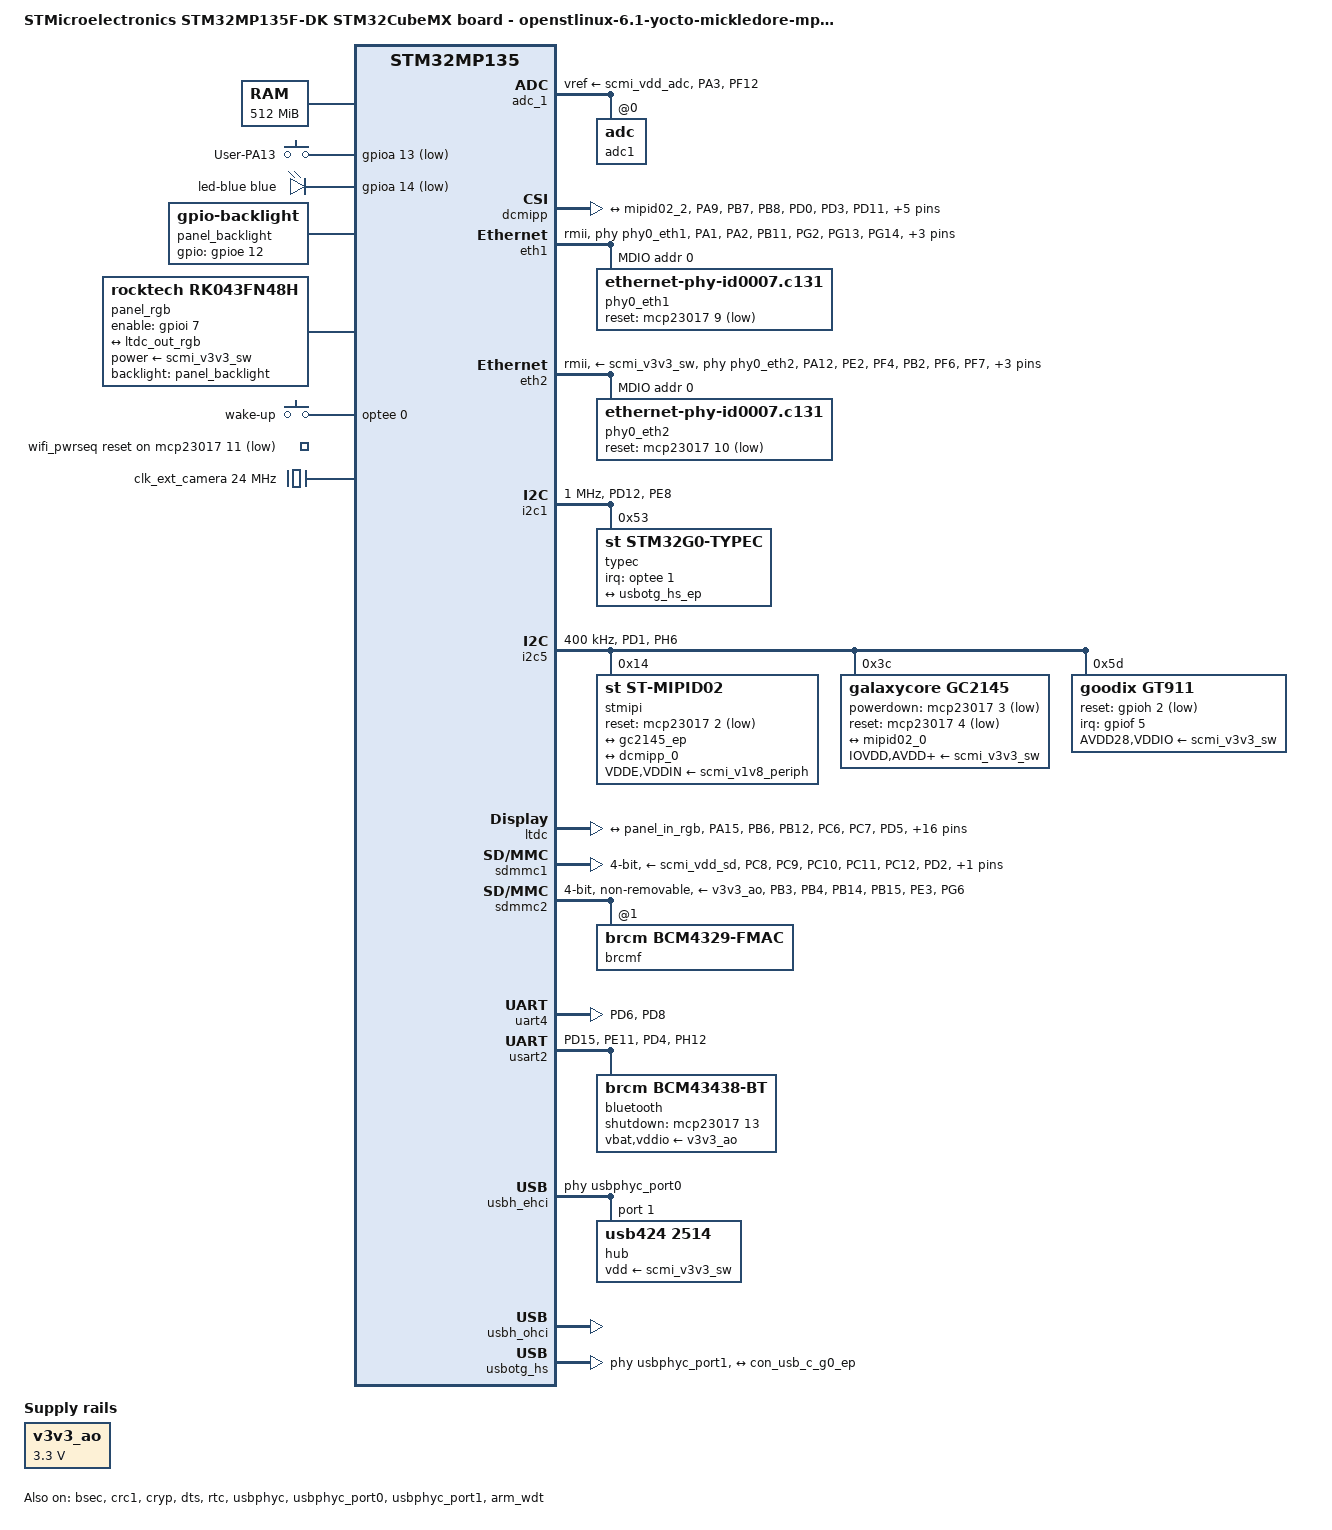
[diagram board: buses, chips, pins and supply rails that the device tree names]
// SPDX-License-Identifier: (GPL-2.0-or-later OR BSD-3-Clause)
/*
 * Copyright (C) 2024, STMicroelectronics - All Rights Reserved
 * Author: STM32CubeMX code generation for STMicroelectronics.
 */

/* For more information on Device Tree configuration, please refer to
 * https://wiki.st.com/stm32mpu/wiki/Category:Device_tree_configuration
 */

/dts-v1/;

#include <dt-bindings/pinctrl/stm32-pinfunc.h>
#include "stm32mp135.dtsi"
#include "stm32mp13xf.dtsi"

/* USER CODE BEGIN includes */
#include <dt-bindings/gpio/gpio.h>
#include <dt-bindings/input/input.h>
#include <dt-bindings/leds/common.h>
#include <dt-bindings/regulator/st,stm32mp13-regulator.h>
#include <dt-bindings/rtc/rtc-stm32.h>
/* USER CODE END includes */

/ {
	model = "STMicroelectronics STM32MP135F-DK STM32CubeMX board - openstlinux-6.1-yocto-mickledore-mpu-v24.06.26";
	compatible = "st,stm32mp135f-dk-mx", "st,stm32mp135f-dk", "st,stm32mp135";

	memory@c0000000 {
		device_type = "memory";
		reg = <0xc0000000 0x20000000>;

		/* USER CODE BEGIN memory */
		/* USER CODE END memory */
	};

	reserved-memory {
		#address-cells = <1>;
		#size-cells = <1>;
		ranges;

		/* USER CODE BEGIN reserved-memory */

		optee@dd000000{
			reg = <0xdd000000 0x3000000>;
			no-map;
		};
		/* USER CODE END reserved-memory */
	};

	/* USER CODE BEGIN root */

	aliases{
		ethernet0 = &eth1;
		ethernet1 = &eth2;
		serial0 = &uart4;
		serial1 = &usart1;
		serial2 = &uart8;
		serial3 = &usart2;
	};

	chosen{
		stdout-path = "serial0:115200n8";
		#address-cells = <1>;
		#size-cells = <1>;
		ranges;

		framebuffer{
			compatible = "simple-framebuffer";
			clocks = <&rcc LTDC_PX>;
			status = "disabled";
		};
	};

	gpio-keys{
		compatible = "gpio-keys";

		user-pa13{
			label = "User-PA13";
			linux,code = <BTN_1>;
			gpios = <&gpioa 13 (GPIO_ACTIVE_LOW | GPIO_PULL_UP)>;
		};
	};

	leds{
		compatible = "gpio-leds";

		led-blue{
			function = LED_FUNCTION_HEARTBEAT;
			color = <LED_COLOR_ID_BLUE>;
			gpios = <&gpioa 14 GPIO_ACTIVE_LOW>;
			linux,default-trigger = "heartbeat";
			default-state = "off";
		};
	};

	panel_backlight:panel-backlight{
		compatible = "gpio-backlight";
		gpios = <&gpioe 12 GPIO_ACTIVE_HIGH>;
		default-on;
		default-brightness-level = <1>;
		status = "okay";
	};

	panel_rgb:panel-rgb{
		compatible = "rocktech,rk043fn48h", "panel-dpi";
		enable-gpios = <&gpioi 7 GPIO_ACTIVE_HIGH>;
		backlight = <&panel_backlight>;
		power-supply = <&scmi_v3v3_sw>;
		data-mapping = "bgr666";
		status = "okay";
		width-mm = <105>;
		height-mm = <67>;

		port{

			panel_in_rgb:endpoint{
				remote-endpoint = <&ltdc_out_rgb>;
			};
		};

		panel-timing{
			clock-frequency = <10000000>;
			hactive = <480>;
			vactive = <272>;
			hsync-len = <52>;
			hfront-porch = <10>;
			hback-porch = <10>;
			vsync-len = <10>;
			vfront-porch = <10>;
			vback-porch = <10>;
			hsync-active = <0>;
			vsync-active = <0>;
			de-active = <1>;
			pixelclk-active = <1>;
		};
	};

	v3v3_ao:v3v3-ao{
		compatible = "regulator-fixed";
		regulator-name = "v3v3_ao";
		regulator-min-microvolt = <3300000>;
		regulator-max-microvolt = <3300000>;
		regulator-always-on;
	};

	wake_up{
		compatible = "gpio-keys";
		status = "okay";

		button{
			label = "wake-up";
			linux,code = <KEY_WAKEUP>;
			interrupts-extended = <&optee 0>;
			status = "okay";
		};
	};

	wifi_pwrseq:wifi-pwrseq{
		compatible = "mmc-pwrseq-simple";
		reset-gpios = <&mcp23017 11 GPIO_ACTIVE_LOW>;
	};
	/* USER CODE END root */

	clocks{

		/* USER CODE BEGIN clocks */

		clk_ext_camera:clk-ext-camera{
			#clock-cells = <0>;
			compatible = "fixed-clock";
			clock-frequency = <24000000>;
		};

		clk_mco1:clk-mco1{
			#clock-cells = <0>;
			compatible = "fixed-clock";
			clock-frequency = <24000000>;
		};
		/* USER CODE END clocks */
	};

}; /*root*/

&pinctrl {

	adc1_pins_mx: adc1_mx-0 {
		pins {
			pinmux = <STM32_PINMUX('A', 3, ANALOG)>, /* ADC1_INP12 */
					 <STM32_PINMUX('F', 12, ANALOG)>; /* ADC1_INP6 */
		};
	};

	adc1_sleep_pins_mx: adc1_sleep_mx-0 {
		pins {
			pinmux = <STM32_PINMUX('A', 3, ANALOG)>, /* ADC1_INP12 */
					 <STM32_PINMUX('F', 12, ANALOG)>; /* ADC1_INP6 */
		};
	};

	dcmipp_pins_mx: dcmipp_mx-0 {
		pins {
			pinmux = <STM32_PINMUX('A', 9, AF13)>, /* DCMIPP_D0 */
					 <STM32_PINMUX('B', 7, AF14)>, /* DCMIPP_PIXCLK */
					 <STM32_PINMUX('B', 8, AF13)>, /* DCMIPP_D6 */
					 <STM32_PINMUX('D', 0, AF13)>, /* DCMIPP_D1 */
					 <STM32_PINMUX('D', 3, AF13)>, /* DCMIPP_D5 */
					 <STM32_PINMUX('D', 11, AF14)>, /* DCMIPP_D4 */
					 <STM32_PINMUX('E', 4, AF13)>, /* DCMIPP_D3 */
					 <STM32_PINMUX('E', 14, AF13)>, /* DCMIPP_D7 */
					 <STM32_PINMUX('G', 9, AF13)>, /* DCMIPP_VSYNC */
					 <STM32_PINMUX('G', 10, AF13)>, /* DCMIPP_D2 */
					 <STM32_PINMUX('H', 8, AF13)>; /* DCMIPP_HSYNC */
			bias-disable;
		};
	};

	dcmipp_sleep_pins_mx: dcmipp_sleep_mx-0 {
		pins {
			pinmux = <STM32_PINMUX('A', 9, ANALOG)>, /* DCMIPP_D0 */
					 <STM32_PINMUX('B', 7, ANALOG)>, /* DCMIPP_PIXCLK */
					 <STM32_PINMUX('B', 8, ANALOG)>, /* DCMIPP_D6 */
					 <STM32_PINMUX('D', 0, ANALOG)>, /* DCMIPP_D1 */
					 <STM32_PINMUX('D', 3, ANALOG)>, /* DCMIPP_D5 */
					 <STM32_PINMUX('D', 11, ANALOG)>, /* DCMIPP_D4 */
					 <STM32_PINMUX('E', 4, ANALOG)>, /* DCMIPP_D3 */
					 <STM32_PINMUX('E', 14, ANALOG)>, /* DCMIPP_D7 */
					 <STM32_PINMUX('G', 9, ANALOG)>, /* DCMIPP_VSYNC */
					 <STM32_PINMUX('G', 10, ANALOG)>, /* DCMIPP_D2 */
					 <STM32_PINMUX('H', 8, ANALOG)>; /* DCMIPP_HSYNC */
		};
	};

	eth1_pins_mx: eth1_mx-0 {
		pins1 {
			pinmux = <STM32_PINMUX('A', 1, AF11)>, /* ETH1_REF_CLK */
					 <STM32_PINMUX('A', 2, AF11)>, /* ETH1_MDIO */
					 <STM32_PINMUX('B', 11, AF11)>, /* ETH1_TX_EN */
					 <STM32_PINMUX('G', 2, AF11)>, /* ETH1_MDC */
					 <STM32_PINMUX('G', 13, AF11)>, /* ETH1_TXD0 */
					 <STM32_PINMUX('G', 14, AF11)>; /* ETH1_TXD1 */
			bias-disable;
			drive-push-pull;
			slew-rate = <1>;
		};
		pins2 {
			pinmux = <STM32_PINMUX('C', 1, AF10)>, /* ETH1_CRS_DV */
					 <STM32_PINMUX('C', 4, AF11)>, /* ETH1_RXD0 */
					 <STM32_PINMUX('C', 5, AF11)>; /* ETH1_RXD1 */
			bias-disable;
		};
	};

	eth1_sleep_pins_mx: eth1_sleep_mx-0 {
		pins {
			pinmux = <STM32_PINMUX('A', 1, ANALOG)>, /* ETH1_REF_CLK */
					 <STM32_PINMUX('A', 2, ANALOG)>, /* ETH1_MDIO */
					 <STM32_PINMUX('B', 11, ANALOG)>, /* ETH1_TX_EN */
					 <STM32_PINMUX('C', 1, ANALOG)>, /* ETH1_CRS_DV */
					 <STM32_PINMUX('C', 4, ANALOG)>, /* ETH1_RXD0 */
					 <STM32_PINMUX('C', 5, ANALOG)>, /* ETH1_RXD1 */
					 <STM32_PINMUX('G', 2, ANALOG)>, /* ETH1_MDC */
					 <STM32_PINMUX('G', 13, ANALOG)>, /* ETH1_TXD0 */
					 <STM32_PINMUX('G', 14, ANALOG)>; /* ETH1_TXD1 */
		};
	};

	eth2_pins_mx: eth2_mx-0 {
		pins1 {
			pinmux = <STM32_PINMUX('A', 12, AF11)>, /* ETH2_CRS_DV */
					 <STM32_PINMUX('E', 2, AF10)>, /* ETH2_RXD1 */
					 <STM32_PINMUX('F', 4, AF11)>; /* ETH2_RXD0 */
			bias-disable;
		};
		pins2 {
			pinmux = <STM32_PINMUX('B', 2, AF11)>, /* ETH2_MDIO */
					 <STM32_PINMUX('F', 6, AF11)>, /* ETH2_TX_EN */
					 <STM32_PINMUX('F', 7, AF11)>, /* ETH2_TXD0 */
					 <STM32_PINMUX('G', 5, AF10)>, /* ETH2_MDC */
					 <STM32_PINMUX('G', 8, AF13)>, /* ETH2_CLK */
					 <STM32_PINMUX('G', 11, AF10)>; /* ETH2_TXD1 */
			bias-disable;
			drive-push-pull;
			slew-rate = <1>;
		};
	};

	eth2_sleep_pins_mx: eth2_sleep_mx-0 {
		pins {
			pinmux = <STM32_PINMUX('A', 12, ANALOG)>, /* ETH2_CRS_DV */
					 <STM32_PINMUX('B', 2, ANALOG)>, /* ETH2_MDIO */
					 <STM32_PINMUX('E', 2, ANALOG)>, /* ETH2_RXD1 */
					 <STM32_PINMUX('F', 4, ANALOG)>, /* ETH2_RXD0 */
					 <STM32_PINMUX('F', 6, ANALOG)>, /* ETH2_TX_EN */
					 <STM32_PINMUX('F', 7, ANALOG)>, /* ETH2_TXD0 */
					 <STM32_PINMUX('G', 5, ANALOG)>, /* ETH2_MDC */
					 <STM32_PINMUX('G', 8, ANALOG)>, /* ETH2_CLK */
					 <STM32_PINMUX('G', 11, ANALOG)>; /* ETH2_TXD1 */
		};
	};

	i2c1_pins_mx: i2c1_mx-0 {
		pins {
			pinmux = <STM32_PINMUX('D', 12, AF5)>, /* I2C1_SCL */
					 <STM32_PINMUX('E', 8, AF5)>; /* I2C1_SDA */
			bias-disable;
			drive-open-drain;
			slew-rate = <0>;
		};
	};

	i2c1_sleep_pins_mx: i2c1_sleep_mx-0 {
		pins {
			pinmux = <STM32_PINMUX('D', 12, ANALOG)>, /* I2C1_SCL */
					 <STM32_PINMUX('E', 8, ANALOG)>; /* I2C1_SDA */
		};
	};

	i2c5_pins_mx: i2c5_mx-0 {
		pins {
			pinmux = <STM32_PINMUX('D', 1, AF4)>, /* I2C5_SCL */
					 <STM32_PINMUX('H', 6, AF4)>; /* I2C5_SDA */
			bias-disable;
			drive-open-drain;
			slew-rate = <0>;
		};
	};

	i2c5_sleep_pins_mx: i2c5_sleep_mx-0 {
		pins {
			pinmux = <STM32_PINMUX('D', 1, ANALOG)>, /* I2C5_SCL */
					 <STM32_PINMUX('H', 6, ANALOG)>; /* I2C5_SDA */
		};
	};

	ltdc_pins_mx: ltdc_mx-0 {
		pins {
			pinmux = <STM32_PINMUX('A', 15, AF11)>, /* LTDC_G7 */
					 <STM32_PINMUX('B', 6, AF7)>, /* LTDC_B6 */
					 <STM32_PINMUX('B', 12, AF13)>, /* LTDC_R3 */
					 <STM32_PINMUX('C', 6, AF14)>, /* LTDC_HSYNC */
					 <STM32_PINMUX('C', 7, AF14)>, /* LTDC_G6 */
					 <STM32_PINMUX('D', 5, AF14)>, /* LTDC_G4 */
					 <STM32_PINMUX('D', 9, AF13)>, /* LTDC_CLK */
					 <STM32_PINMUX('D', 10, AF14)>, /* LTDC_B2 */
					 <STM32_PINMUX('D', 14, AF14)>, /* LTDC_R4 */
					 <STM32_PINMUX('E', 0, AF14)>, /* LTDC_B5 */
					 <STM32_PINMUX('E', 7, AF14)>, /* LTDC_R5 */
					 <STM32_PINMUX('E', 9, AF14)>, /* LTDC_R7 */
					 <STM32_PINMUX('E', 13, AF14)>, /* LTDC_R6 */
					 <STM32_PINMUX('F', 1, AF13)>, /* LTDC_B7 */
					 <STM32_PINMUX('F', 2, AF14)>, /* LTDC_B3 */
					 <STM32_PINMUX('F', 3, AF14)>, /* LTDC_G3 */
					 <STM32_PINMUX('G', 0, AF14)>, /* LTDC_G5 */
					 <STM32_PINMUX('G', 4, AF11)>, /* LTDC_VSYNC */
					 <STM32_PINMUX('G', 7, AF14)>, /* LTDC_R2 */
					 <STM32_PINMUX('H', 9, AF11)>, /* LTDC_DE */
					 <STM32_PINMUX('H', 13, AF14)>, /* LTDC_G2 */
					 <STM32_PINMUX('H', 14, AF11)>; /* LTDC_B4 */
			bias-disable;
			drive-push-pull;
			slew-rate = <0>;
		};
	};

	ltdc_sleep_pins_mx: ltdc_sleep_mx-0 {
		pins {
			pinmux = <STM32_PINMUX('A', 15, ANALOG)>, /* LTDC_G7 */
					 <STM32_PINMUX('B', 6, ANALOG)>, /* LTDC_B6 */
					 <STM32_PINMUX('B', 12, ANALOG)>, /* LTDC_R3 */
					 <STM32_PINMUX('C', 6, ANALOG)>, /* LTDC_HSYNC */
					 <STM32_PINMUX('C', 7, ANALOG)>, /* LTDC_G6 */
					 <STM32_PINMUX('D', 5, ANALOG)>, /* LTDC_G4 */
					 <STM32_PINMUX('D', 9, ANALOG)>, /* LTDC_CLK */
					 <STM32_PINMUX('D', 10, ANALOG)>, /* LTDC_B2 */
					 <STM32_PINMUX('D', 14, ANALOG)>, /* LTDC_R4 */
					 <STM32_PINMUX('E', 0, ANALOG)>, /* LTDC_B5 */
					 <STM32_PINMUX('E', 7, ANALOG)>, /* LTDC_R5 */
					 <STM32_PINMUX('E', 9, ANALOG)>, /* LTDC_R7 */
					 <STM32_PINMUX('E', 13, ANALOG)>, /* LTDC_R6 */
					 <STM32_PINMUX('F', 1, ANALOG)>, /* LTDC_B7 */
					 <STM32_PINMUX('F', 2, ANALOG)>, /* LTDC_B3 */
					 <STM32_PINMUX('F', 3, ANALOG)>, /* LTDC_G3 */
					 <STM32_PINMUX('G', 0, ANALOG)>, /* LTDC_G5 */
					 <STM32_PINMUX('G', 4, ANALOG)>, /* LTDC_VSYNC */
					 <STM32_PINMUX('G', 7, ANALOG)>, /* LTDC_R2 */
					 <STM32_PINMUX('H', 9, ANALOG)>, /* LTDC_DE */
					 <STM32_PINMUX('H', 13, ANALOG)>, /* LTDC_G2 */
					 <STM32_PINMUX('H', 14, ANALOG)>; /* LTDC_B4 */
		};
	};

	rtc_pins_mx: rtc_mx-0 {
		pins {
			pinmux = <STM32_PINMUX('I', 1, ANALOG)>; /* RTC_OUT2 */
		};
	};

	rtc_sleep_pins_mx: rtc_sleep_mx-0 {
		pins {
			pinmux = <STM32_PINMUX('I', 1, ANALOG)>; /* RTC_OUT2 */
		};
	};

	sdmmc1_pins_mx: sdmmc1_mx-0 {
		pins {
			pinmux = <STM32_PINMUX('C', 8, AF12)>, /* SDMMC1_D0 */
					 <STM32_PINMUX('C', 9, AF12)>, /* SDMMC1_D1 */
					 <STM32_PINMUX('C', 10, AF12)>, /* SDMMC1_D2 */
					 <STM32_PINMUX('C', 11, AF12)>, /* SDMMC1_D3 */
					 <STM32_PINMUX('C', 12, AF12)>, /* SDMMC1_CK */
					 <STM32_PINMUX('D', 2, AF12)>; /* SDMMC1_CMD */
			bias-disable;
			drive-push-pull;
			slew-rate = <1>;
		};
	};

	sdmmc1_opendrain_pins_mx: sdmmc1_opendrain_mx-0 {
		pins1 {
			pinmux = <STM32_PINMUX('C', 8, AF12)>, /* SDMMC1_D0 */
					 <STM32_PINMUX('C', 9, AF12)>, /* SDMMC1_D1 */
					 <STM32_PINMUX('C', 10, AF12)>, /* SDMMC1_D2 */
					 <STM32_PINMUX('C', 11, AF12)>, /* SDMMC1_D3 */
					 <STM32_PINMUX('C', 12, AF12)>; /* SDMMC1_CK */
			bias-disable;
			drive-push-pull;
			slew-rate = <1>;
		};
		pins2 {
			pinmux = <STM32_PINMUX('D', 2, AF12)>; /* SDMMC1_CMD */
			bias-disable;
			drive-open-drain;
			slew-rate = <1>;
		};
	};

	sdmmc1_sleep_pins_mx: sdmmc1_sleep_mx-0 {
		pins {
			pinmux = <STM32_PINMUX('C', 8, ANALOG)>, /* SDMMC1_D0 */
					 <STM32_PINMUX('C', 9, ANALOG)>, /* SDMMC1_D1 */
					 <STM32_PINMUX('C', 10, ANALOG)>, /* SDMMC1_D2 */
					 <STM32_PINMUX('C', 11, ANALOG)>, /* SDMMC1_D3 */
					 <STM32_PINMUX('C', 12, ANALOG)>, /* SDMMC1_CK */
					 <STM32_PINMUX('D', 2, ANALOG)>; /* SDMMC1_CMD */
		};
	};

	sdmmc2_pins_mx: sdmmc2_mx-0 {
		pins {
			pinmux = <STM32_PINMUX('B', 3, AF10)>, /* SDMMC2_D2 */
					 <STM32_PINMUX('B', 4, AF10)>, /* SDMMC2_D3 */
					 <STM32_PINMUX('B', 14, AF10)>, /* SDMMC2_D0 */
					 <STM32_PINMUX('B', 15, AF10)>, /* SDMMC2_D1 */
					 <STM32_PINMUX('E', 3, AF10)>, /* SDMMC2_CK */
					 <STM32_PINMUX('G', 6, AF10)>; /* SDMMC2_CMD */
			bias-pull-up;
			drive-push-pull;
			slew-rate = <1>;
		};
	};

	sdmmc2_opendrain_pins_mx: sdmmc2_opendrain_mx-0 {
		pins1 {
			pinmux = <STM32_PINMUX('B', 3, AF10)>, /* SDMMC2_D2 */
					 <STM32_PINMUX('B', 4, AF10)>, /* SDMMC2_D3 */
					 <STM32_PINMUX('B', 14, AF10)>, /* SDMMC2_D0 */
					 <STM32_PINMUX('B', 15, AF10)>, /* SDMMC2_D1 */
					 <STM32_PINMUX('E', 3, AF10)>; /* SDMMC2_CK */
			bias-pull-up;
			drive-push-pull;
			slew-rate = <1>;
		};
		pins2 {
			pinmux = <STM32_PINMUX('G', 6, AF10)>; /* SDMMC2_CMD */
			bias-pull-up;
			drive-open-drain;
			slew-rate = <1>;
		};
	};

	sdmmc2_sleep_pins_mx: sdmmc2_sleep_mx-0 {
		pins {
			pinmux = <STM32_PINMUX('B', 3, ANALOG)>, /* SDMMC2_D2 */
					 <STM32_PINMUX('B', 4, ANALOG)>, /* SDMMC2_D3 */
					 <STM32_PINMUX('B', 14, ANALOG)>, /* SDMMC2_D0 */
					 <STM32_PINMUX('B', 15, ANALOG)>, /* SDMMC2_D1 */
					 <STM32_PINMUX('E', 3, ANALOG)>, /* SDMMC2_CK */
					 <STM32_PINMUX('G', 6, ANALOG)>; /* SDMMC2_CMD */
		};
	};

	uart4_pins_mx: uart4_mx-0 {
		pins1 {
			pinmux = <STM32_PINMUX('D', 6, AF8)>; /* UART4_TX */
			bias-disable;
			drive-push-pull;
			slew-rate = <0>;
		};
		pins2 {
			pinmux = <STM32_PINMUX('D', 8, AF8)>; /* UART4_RX */
			bias-disable;
		};
	};

	uart4_idle_pins_mx: uart4_idle_mx-0 {
		pins1 {
			pinmux = <STM32_PINMUX('D', 6, AF8)>; /* UART4_TX */
			bias-disable;
			drive-push-pull;
			slew-rate = <0>;
		};
		pins2 {
			pinmux = <STM32_PINMUX('D', 8, AF8)>; /* UART4_RX */
			bias-disable;
		};
	};

	uart4_sleep_pins_mx: uart4_sleep_mx-0 {
		pins {
			pinmux = <STM32_PINMUX('D', 6, ANALOG)>, /* UART4_TX */
					 <STM32_PINMUX('D', 8, ANALOG)>; /* UART4_RX */
		};
	};

	usart2_pins_mx: usart2_mx-0 {
		pins1 {
			pinmux = <STM32_PINMUX('D', 15, AF1)>, /* USART2_RX */
					 <STM32_PINMUX('E', 11, AF2)>; /* USART2_CTS */
			bias-disable;
		};
		pins2 {
			pinmux = <STM32_PINMUX('D', 4, AF3)>, /* USART2_RTS */
					 <STM32_PINMUX('H', 12, AF1)>; /* USART2_TX */
			bias-disable;
			drive-push-pull;
			slew-rate = <0>;
		};
	};

	usart2_idle_pins_mx: usart2_idle_mx-0 {
		pins1 {
			pinmux = <STM32_PINMUX('D', 15, AF1)>, /* USART2_RX */
					 <STM32_PINMUX('E', 11, AF2)>; /* USART2_CTS */
			bias-disable;
		};
		pins2 {
			pinmux = <STM32_PINMUX('D', 4, AF3)>, /* USART2_RTS */
					 <STM32_PINMUX('H', 12, AF1)>; /* USART2_TX */
			bias-disable;
			drive-push-pull;
			slew-rate = <0>;
		};
	};

	usart2_sleep_pins_mx: usart2_sleep_mx-0 {
		pins {
			pinmux = <STM32_PINMUX('D', 4, ANALOG)>, /* USART2_RTS */
					 <STM32_PINMUX('D', 15, ANALOG)>, /* USART2_RX */
					 <STM32_PINMUX('E', 11, ANALOG)>, /* USART2_CTS */
					 <STM32_PINMUX('H', 12, ANALOG)>; /* USART2_TX */
		};
	};

	/* USER CODE BEGIN pinctrl */
	/* USER CODE END pinctrl */
};

&adc_1{
	pinctrl-names = "default", "sleep";
	pinctrl-0 = <&adc1_pins_mx>;
	pinctrl-1 = <&adc1_sleep_pins_mx>;
	status = "okay";

	/* USER CODE BEGIN adc_1 */
	vdda-supply = <&scmi_vdd_adc>;
	vref-supply = <&scmi_vdd_adc>;

	adc1:adc@0{
		status = "okay";

		channel@6{
			reg = <6>;
			st,min-sample-time-ns = <5000>;
		};

		channel@12{
			reg = <12>;
			st,min-sample-time-ns = <5000>;
		};
	};
	/* USER CODE END adc_1 */
};

&bsec{
	status = "okay";

	/* USER CODE BEGIN bsec */
	/* USER CODE END bsec */
};

&crc1{
	status = "okay";

	/* USER CODE BEGIN crc1 */
	/* USER CODE END crc1 */
};

&cryp{
	status = "okay";

	/* USER CODE BEGIN cryp */
	/* USER CODE END cryp */
};

&dcmipp{
	pinctrl-names = "default", "sleep";
	pinctrl-0 = <&dcmipp_pins_mx>;
	pinctrl-1 = <&dcmipp_sleep_pins_mx>;
	status = "okay";

	/* USER CODE BEGIN dcmipp */

	port{

		dcmipp_0:endpoint{
			remote-endpoint = <&mipid02_2>;
			bus-width = <8>;
			hsync-active = <0>;
			vsync-active = <0>;
			pclk-sample = <0>;
			pclk-max-frequency = <120000000>;
		};
	};
	/* USER CODE END dcmipp */
};

&dma1{
	status = "okay";

	/* USER CODE BEGIN dma1 */
	/* USER CODE END dma1 */
};

&dma2{
	status = "okay";

	/* USER CODE BEGIN dma2 */
	/* USER CODE END dma2 */
};

&dmamux1{
	status = "okay";

	dma-masters = <&dma1 &dma2>;
	dma-channels = <16>;

	/* USER CODE BEGIN dmamux1 */
	/* USER CODE END dmamux1 */
};

&dts{
	status = "okay";

	/* USER CODE BEGIN dts */
	/* USER CODE END dts */
};

&eth1{
	pinctrl-names = "default", "sleep";
	pinctrl-0 = <&eth1_pins_mx>;
	pinctrl-1 = <&eth1_sleep_pins_mx>;
	status = "okay";

	/* USER CODE BEGIN eth1 */
	phy-mode = "rmii";
	max-speed = <100>;
	phy-handle = <&phy0_eth1>;
	nvmem-cells = <&ethernet_mac1_address>;
	nvmem-cell-names = "mac-address";

	mdio1{
		#address-cells = <1>;
		#size-cells = <0>;
		compatible = "snps,dwmac-mdio";

		phy0_eth1:ethernet-phy@0{
			compatible = "ethernet-phy-id0007.c131";
			reset-gpios = <&mcp23017 9 GPIO_ACTIVE_LOW>;
			reg = <0>;
			wakeup-source;
		};
	};
	/* USER CODE END eth1 */
};

&eth2{
	pinctrl-names = "default", "sleep";
	pinctrl-0 = <&eth2_pins_mx>;
	pinctrl-1 = <&eth2_sleep_pins_mx>;
	status = "okay";

	/* USER CODE BEGIN eth2 */
	phy-mode = "rmii";
	max-speed = <100>;
	phy-handle = <&phy0_eth2>;
	st,ext-phyclk;
	phy-supply = <&scmi_v3v3_sw>;
	nvmem-cells = <&ethernet_mac2_address>;
	nvmem-cell-names = "mac-address";

	mdio1{
		#address-cells = <1>;
		#size-cells = <0>;
		compatible = "snps,dwmac-mdio";

		phy0_eth2:ethernet-phy@0{
			compatible = "ethernet-phy-id0007.c131";
			reset-gpios = <&mcp23017 10 GPIO_ACTIVE_LOW>;
			reg = <0>;
		};
	};
	/* USER CODE END eth2 */
};

&i2c1{
	pinctrl-names = "default", "sleep";
	pinctrl-0 = <&i2c1_pins_mx>;
	pinctrl-1 = <&i2c1_sleep_pins_mx>;
	status = "okay";

	/* USER CODE BEGIN i2c1 */
	i2c-scl-rising-time-ns = <96>;
	i2c-scl-falling-time-ns = <3>;
	clock-frequency = <1000000>;
	/delete-property/ dmas;
	/delete-property/ dma-names;

	mcp23017:pinctrl@21{
		compatible = "microchip,mcp23017";
		reg = <0x21>;
		gpio-controller;
		#gpio-cells = <2>;
		interrupts = <12 IRQ_TYPE_LEVEL_LOW>;
		interrupt-parent = <&gpiog>;
		pinctrl-names = "default";
		pinctrl-0 = <&mcp23017_pins_a>;
		interrupt-controller;
		#interrupt-cells = <2>;
		microchip,irq-mirror;
	};

	typec@53{
		compatible = "st,stm32g0-typec";
		reg = <0x53>;
		interrupts-extended = <&optee 1>;
		firmware-name = "stm32g0-ucsi.mp135f-dk.fw";
		wakeup-source;

		connector{
			compatible = "usb-c-connector";
			label = "USB-C";

			port{

				con_usb_c_g0_ep:endpoint{
					remote-endpoint = <&usbotg_hs_ep>;
				};
			};
		};
	};
	/* USER CODE END i2c1 */
};

&i2c5{
	pinctrl-names = "default", "sleep";
	pinctrl-0 = <&i2c5_pins_mx>;
	pinctrl-1 = <&i2c5_sleep_pins_mx>;
	status = "okay";

	/* USER CODE BEGIN i2c5 */
	i2c-scl-rising-time-ns = <170>;
	i2c-scl-falling-time-ns = <5>;
	clock-frequency = <400000>;
	/delete-property/ dmas;
	/delete-property/ dma-names;

	stmipi:stmipi@14{
		compatible = "st,st-mipid02";
		reg = <0x14>;
		status = "okay";
		clocks = <&clk_mco1>;
		clock-names = "xclk";
		VDDE-supply = <&scmi_v1v8_periph>;
		VDDIN-supply = <&scmi_v1v8_periph>;
		reset-gpios = <&mcp23017 2 (GPIO_ACTIVE_LOW | GPIO_PUSH_PULL)>;

		ports{
			#address-cells = <1>;
			#size-cells = <0>;

			port@0{
				reg = <0>;

				mipid02_0:endpoint{
					data-lanes = <1 2>;
					lane-polarities = <0 0 0>;
					remote-endpoint = <&gc2145_ep>;
				};
			};

			port@2{
				reg = <2>;

				mipid02_2:endpoint{
					bus-width = <8>;
					hsync-active = <0>;
					vsync-active = <0>;
					pclk-sample = <0>;
					remote-endpoint = <&dcmipp_0>;
				};
			};
		};
	};

	gc2145:gc2145@3c{
		compatible = "galaxycore,gc2145";
		reg = <0x3c>;
		clocks = <&clk_ext_camera>;
		IOVDD-supply = <&scmi_v3v3_sw>;
		AVDD-supply = <&scmi_v3v3_sw>;
		DVDD-supply = <&scmi_v3v3_sw>;
		powerdown-gpios = <&mcp23017 3 (GPIO_ACTIVE_LOW | GPIO_PUSH_PULL)>;
		reset-gpios = <&mcp23017 4 (GPIO_ACTIVE_LOW | GPIO_PUSH_PULL)>;
		status = "okay";

		port{

			gc2145_ep:endpoint{
				remote-endpoint = <&mipid02_0>;
				clock-lanes = <0>;
				data-lanes = <1 2>;
			};
		};
	};

	ov5640:camera@3c{
		compatible = "ovti,ov5640";
		reg = <0x3c>;
		clocks = <&clk_ext_camera>;
		clock-names = "xclk";
		DOVDD-supply = <&scmi_v3v3_sw>;
		status = "disabled";
		powerdown-gpios = <&mcp23017 3 (GPIO_ACTIVE_LOW | GPIO_PUSH_PULL)>;
		reset-gpios = <&mcp23017 4 (GPIO_ACTIVE_LOW | GPIO_PUSH_PULL)>;

		port{

			ov5640_0:endpoint{
				clock-lanes = <0>;
				data-lanes = <1 2>;
			};
		};
	};

	goodix:goodix-ts@5d{
		compatible = "goodix,gt911";
		reg = <0x5d>;
		pinctrl-names = "default";
		pinctrl-0 = <&goodix_pins_a>;
		interrupt-parent = <&gpiof>;
		interrupts = <5 IRQ_TYPE_NONE>;
		reset-gpios = <&gpioh 2 GPIO_ACTIVE_LOW>;
		AVDD28-supply = <&scmi_v3v3_sw>;
		VDDIO-supply = <&scmi_v3v3_sw>;
		touchscreen-size-x = <480>;
		touchscreen-size-y = <272>;
		status = "okay";
	};
	/* USER CODE END i2c5 */
};

&ltdc{
	pinctrl-names = "default", "sleep";
	pinctrl-0 = <&ltdc_pins_mx>;
	pinctrl-1 = <&ltdc_sleep_pins_mx>;
	status = "okay";

	/* USER CODE BEGIN ltdc */
	default-on;

	port{

		ltdc_out_rgb:endpoint{
			remote-endpoint = <&panel_in_rgb>;
		};
	};
	/* USER CODE END ltdc */
};

&mdma{
	status = "okay";

	/* USER CODE BEGIN mdma */
	/* USER CODE END mdma */
};

&rcc{
	status = "okay";

	/* USER CODE BEGIN rcc */
	/* USER CODE END rcc */
};

&rtc{
	pinctrl-names = "default", "sleep";
	pinctrl-0 = <&rtc_pins_mx>;
	pinctrl-1 = <&rtc_sleep_pins_mx>;
	status = "okay";

	/* USER CODE BEGIN rtc */
	st,lsco = <RTC_OUT2_RMP>;
	/* USER CODE END rtc */
};

&sdmmc1{
	pinctrl-names = "default", "opendrain", "sleep";
	pinctrl-0 = <&sdmmc1_pins_mx>;
	pinctrl-1 = <&sdmmc1_opendrain_pins_mx>;
	pinctrl-2 = <&sdmmc1_sleep_pins_mx>;
	status = "okay";

	/* USER CODE BEGIN sdmmc1 */
	cd-gpios = <&gpioh 4 (GPIO_ACTIVE_LOW | GPIO_PULL_UP)>;
	disable-wp;
	st,neg-edge;
	bus-width = <4>;
	vmmc-supply = <&scmi_vdd_sd>;
	/* USER CODE END sdmmc1 */
};

&sdmmc2{
	pinctrl-names = "default", "opendrain", "sleep";
	pinctrl-0 = <&sdmmc2_pins_mx>;
	pinctrl-1 = <&sdmmc2_opendrain_pins_mx>;
	pinctrl-2 = <&sdmmc2_sleep_pins_mx>;
	status = "okay";

	/* USER CODE BEGIN sdmmc2 */
	non-removable;
	cap-sdio-irq;
	st,neg-edge;
	bus-width = <4>;
	vmmc-supply = <&v3v3_ao>;
	mmc-pwrseq = <&wifi_pwrseq>;
	#address-cells = <1>;
	#size-cells = <0>;

	brcmf:bcrmf@1{
		reg = <1>;
		compatible = "brcm,bcm4329-fmac";
	};
	/* USER CODE END sdmmc2 */
};

&uart4{
	pinctrl-names = "default", "idle", "sleep";
	pinctrl-0 = <&uart4_pins_mx>;
	pinctrl-1 = <&uart4_idle_pins_mx>;
	pinctrl-2 = <&uart4_sleep_pins_mx>;
	status = "okay";

	/* USER CODE BEGIN uart4 */
	/delete-property/ dmas;
	/delete-property/ dma-names;
	/* USER CODE END uart4 */
};

&usart2{
	pinctrl-names = "default", "idle", "sleep";
	pinctrl-0 = <&usart2_pins_mx>;
	pinctrl-1 = <&usart2_idle_pins_mx>;
	pinctrl-2 = <&usart2_sleep_pins_mx>;
	status = "okay";

	/* USER CODE BEGIN usart2 */
	uart-has-rtscts;

	bluetooth{
		shutdown-gpios = <&mcp23017 13 GPIO_ACTIVE_HIGH>;
		compatible = "brcm,bcm43438-bt";
		max-speed = <3000000>;
		vbat-supply = <&v3v3_ao>;
		vddio-supply = <&v3v3_ao>;
	};
	/* USER CODE END usart2 */
};

&usbh_ehci{
	status = "okay";

	/* USER CODE BEGIN usbh_ehci */
	phys = <&usbphyc_port0>;
	#address-cells = <1>;
	#size-cells = <0>;

	hub@1{
		compatible = "usb424,2514";
		reg = <1>;
		vdd-supply = <&scmi_v3v3_sw>;
	};
	/* USER CODE END usbh_ehci */
};

&usbh_ohci{
	status = "okay";

	/* USER CODE BEGIN usbh_ohci */
	/* USER CODE END usbh_ohci */
};

&usbotg_hs{
	status = "okay";

	/* USER CODE BEGIN usbotg_hs */
	phys = <&usbphyc_port1 0>;
	phy-names = "usb2-phy";
	usb-role-switch;

	port{

		usbotg_hs_ep:endpoint{
			remote-endpoint = <&con_usb_c_g0_ep>;
		};
	};
	/* USER CODE END usbotg_hs */
};

&usbphyc{
	status = "okay";

	/* USER CODE BEGIN usbphyc */
	/* USER CODE END usbphyc */
};

&usbphyc_port0{
	status = "okay";

	/* USER CODE BEGIN usbphyc_port0 */
	phy-supply = <&scmi_vdd_usb>;
	st,current-boost-microamp = <1000>;
	st,decrease-hs-slew-rate;
	st,tune-hs-dc-level = <2>;
	st,enable-hs-rftime-reduction;
	st,trim-hs-current = <11>;
	st,trim-hs-impedance = <2>;
	st,tune-squelch-level = <1>;
	st,enable-hs-rx-gain-eq;
	st,no-hs-ftime-ctrl;
	st,no-lsfs-sc;
	/* USER CODE END usbphyc_port0 */
};

&usbphyc_port1{
	status = "okay";

	/* USER CODE BEGIN usbphyc_port1 */
	phy-supply = <&scmi_vdd_usb>;
	st,current-boost-microamp = <1000>;
	st,decrease-hs-slew-rate;
	st,tune-hs-dc-level = <2>;
	st,enable-hs-rftime-reduction;
	st,trim-hs-current = <11>;
	st,trim-hs-impedance = <2>;
	st,tune-squelch-level = <1>;
	st,enable-hs-rx-gain-eq;
	st,no-hs-ftime-ctrl;
	st,no-lsfs-sc;
	/* USER CODE END usbphyc_port1 */
};

/* USER CODE BEGIN addons */

&arm_wdt{
	timeout-sec = <32>;
	status = "okay";
};

&scmi_regu{

	scmi_vddcpu:regulator@6{
		reg = <VOLTD_SCMI_STPMIC1_BUCK1>;
		regulator-name = "vddcpu";
	};

	scmi_vdd:regulator@8{
		reg = <VOLTD_SCMI_STPMIC1_BUCK3>;
		regulator-name = "vdd";
	};

	scmi_vddcore:regulator@9{
		reg = <VOLTD_SCMI_STPMIC1_BUCK4>;
		regulator-name = "vddcore";
	};

	scmi_vdd_adc:regulator@10{
		reg = <VOLTD_SCMI_STPMIC1_LDO1>;
		regulator-name = "vdd_adc";
	};

	scmi_vdd_usb:regulator@13{
		reg = <VOLTD_SCMI_STPMIC1_LDO4>;
		regulator-name = "vdd_usb";
	};

	scmi_vdd_sd:regulator@14{
		reg = <VOLTD_SCMI_STPMIC1_LDO5>;
		regulator-name = "vdd_sd";
	};

	scmi_v1v8_periph:regulator@15{
		reg = <VOLTD_SCMI_STPMIC1_LDO6>;
		regulator-name = "v1v8_periph";
	};

	scmi_v3v3_sw:regulator@19{
		reg = <VOLTD_SCMI_STPMIC1_PWR_SW2>;
		regulator-name = "v3v3_sw";
	};
};

&pinctrl{
	mcp23017_pins_a: mcp23017-0 {
		pins {
			pinmux = <STM32_PINMUX('G', 12, GPIO)>;
			bias-pull-up;
		};
	};

	stm32g0_intn_pins_a: stm32g0-intn-0 {
		pins {
			pinmux = <STM32_PINMUX('I', 2, GPIO)>;
			bias-pull-up;
		};
	};

	goodix_pins_a: goodix-0 {
		pins {
			pinmux = <STM32_PINMUX('F', 5, GPIO)>;
			bias-pull-down;
		};
	};
};
/* USER CODE END addons */

